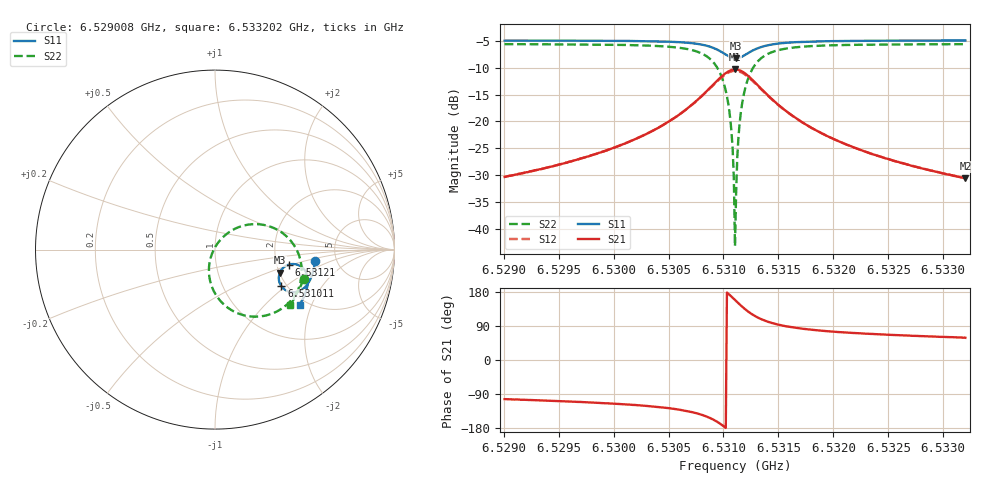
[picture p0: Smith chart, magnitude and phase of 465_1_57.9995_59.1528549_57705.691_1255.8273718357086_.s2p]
#  HZ  S  RI  R  50.00
! Rohde & Schwarz Vector Network Analyzer
! Rohde-Schwarz,ZNB20-2Port,1311601062101988,3.16
! Created: UTC 3/21/2024, 1:11:07 AM
! freq[Hz]  re:S11  im:S11  re:S21  im:S21  re:S12  im:S12  re:S22  im:S22
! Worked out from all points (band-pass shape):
!   401 points, 6.529008 GHz to 6.533202 GHz, reference 50 ohm
!   highest |S21| = -10.37 dB at 6.531105 GHz (marker M1); lowest = -30.5 dB at 6.533202 GHz (marker M2)
!   |S21| within 3 dB of the highest: 6.530897 GHz to 6.531316 GHz (418.8 kHz wide, 0.00641 % of centre)
!   lowest |S11| = -8.3 dB at 6.531115 GHz (marker M3), VSWR 2.24, Z = 101 - j30.2 ohm
!   |S11| at or under -10 dB: nowhere
!   |S22| runs from -43.1 to -5.7 dB; largest |S21 - S12| = 0.012
!   S11 on the Smith chart (normalised r, x): 6.529008 GHz: 3.44, -0.61; 6.531011 GHz: 1.87, -0.93; 6.53121 GHz: 2.34, -0.47; 6.533202 GHz: 1.82, -1.64
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6.5290083e9  0.5577 -0.0608  -0.00705 -0.0298  -0.00766 -0.0298  0.4937 -0.1642
6.5297107e9  0.5472 -0.1188  -0.0163 -0.0426  -0.0173 -0.0423  0.4632 -0.2294
6.5304131e9  0.5188 -0.1879  -0.0496 -0.0729  -0.0516 -0.0717  0.383 -0.3207
6.5308324e9  0.4487 -0.2368  -0.1558 -0.0986  -0.1581 -0.0923  0.1788 -0.3697
6.5309373e9  0.4047 -0.2315  -0.2244 -0.0728  -0.2236 -0.0635  0.062 -0.3164
6.5310106e9  0.3703 -0.2046  -0.2751 -0.0153  -0.2697 -0.0056  -0.0156 -0.2114
6.5310421e9  0.3599 -0.1848  -0.2887 0.0226  -0.2809 0.0312  -0.0323 -0.1458
6.5310631e9  0.356 -0.1693  -0.2922 0.0515  -0.2829 0.0587  -0.0334 -0.0976
6.5310735e9  0.3554 -0.1611  -0.292 0.0664  -0.2821 0.0728  -0.0306 -0.0728
6.531084e9  0.3555 -0.1527  -0.29 0.0817  -0.28 0.087  -0.0251 -0.0484
6.5310945e9  0.3567 -0.1444  -0.2868 0.0966  -0.2762 0.1011  -0.0171 -0.0242
6.531105e9  0.3585 -0.1361  -0.282 0.1114  -0.2712 0.1148  -0.00696 -0.000792
6.5311155e9  0.3614 -0.1281  -0.2756 0.1256  -0.265 0.128  0.00561 0.0217
6.531126e9  0.3652 -0.1206  -0.2679 0.1389  -0.2576 0.1405  0.0201 0.0424
6.5311364e9  0.3697 -0.1135  -0.2591 0.1514  -0.249 0.1522  0.0366 0.0617
6.5311574e9  0.3804 -0.1011  -0.2387 0.1731  -0.2291 0.1722  0.074 0.094
6.5312098e9  0.4132 -0.083  -0.1788 0.2053  -0.1723 0.2022  0.1778 0.1378
6.5312832e9  0.4557 -0.0834  -0.104 0.2074  -0.1007 0.2046  0.304 0.1293
6.5313881e9  0.4926 -0.1056  -0.0396 0.1768  -0.0381 0.1752  0.4094 0.0634
6.5318074e9  0.5178 -0.1855  0.0157 0.085  0.0165 0.085  0.4829 -0.1279
6.5325098e9  0.4981 -0.2568  0.0177 0.0408  0.0184 0.0406  0.455 -0.245
6.5332017e9  0.471 -0.3082  0.0155 0.0255  0.016 0.0254  0.4202 -0.3063
